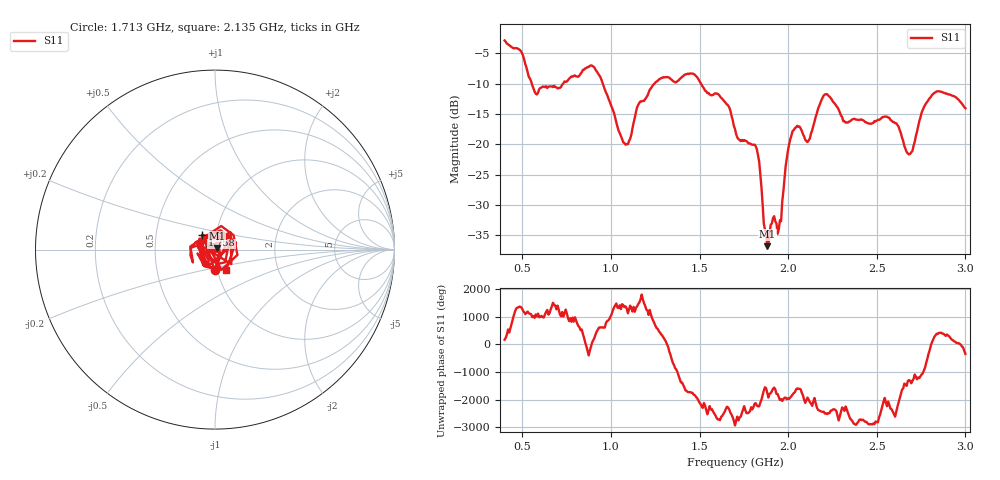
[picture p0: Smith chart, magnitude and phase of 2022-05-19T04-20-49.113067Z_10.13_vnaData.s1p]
!Created with skrf (http://scikit-rf.org).
# Hz S RI R 50.0
!freq ReS11 ImS11
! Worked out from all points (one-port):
!   401 points, 400 MHz to 3 GHz, reference 50 ohm
!   lowest |S11| = -36.8 dB at 1.882 GHz (marker M1), VSWR 1.03, Z = 51.1 + j0.981 ohm
!   |S11| at or under -10 dB: 553.5 MHz to 730 MHz (176.5 MHz wide, 27.5 % of centre); 954 MHz to 1.245 GHz (291.1 MHz wide, 26.5 % of centre); 1.508 GHz to end of sweep
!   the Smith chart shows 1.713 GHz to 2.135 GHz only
!   S11 on the Smith chart (normalised r, x): 1.713 GHz: 0.97, -0.22; 1.758 GHz: 0.86, +0.14; 2.135 GHz: 1.10, -0.26
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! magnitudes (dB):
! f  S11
! 400 MHz  -2.9
! 491 MHz  -4.6
! 575.5 MHz  -11.6
! 725 MHz  -10.1
! 900.5 MHz  -7.2
! 1.05 GHz  -18.2
! 1.095 GHz  -20.0
! 1.154 GHz  -13.5
! 1.258 GHz  -9.6
! 1.375 GHz  -9.6
! 1.472 GHz  -8.5
! 1.655 GHz  -13.4
! 1.7 GHz  -17.5
! 1.713 GHz  -18.9
! 1.758 GHz  -19.4
! 1.823 GHz  -20.8
! 1.882 GHz  -36.8
! 1.954 GHz  -32.5
! 1.992 GHz  -22.2
! 2.025 GHz  -17.8
! 2.11 GHz  -19.6
! 2.135 GHz  -17.7
! 2.213 GHz  -11.7
! 2.35 GHz  -16.2
! 2.558 GHz  -15.4
! 2.675 GHz  -21.5
! 2.825 GHz  -11.5
! 3 GHz  -14.0
